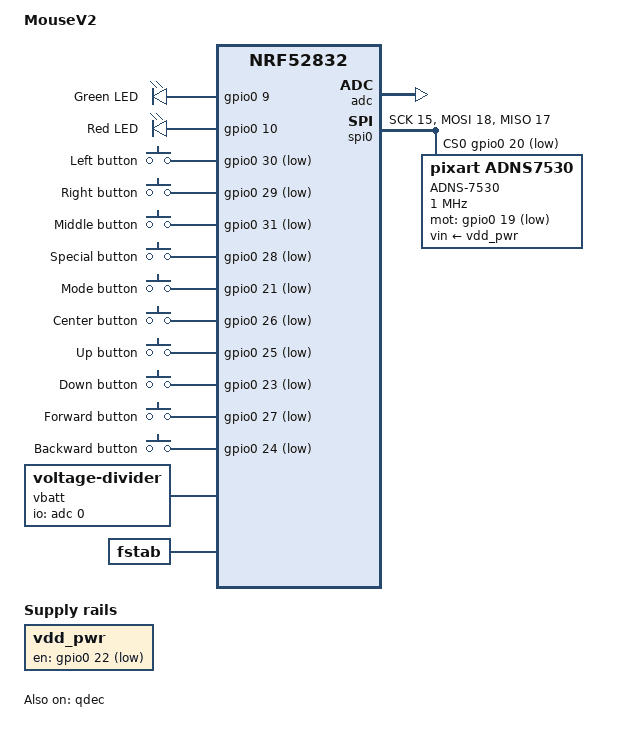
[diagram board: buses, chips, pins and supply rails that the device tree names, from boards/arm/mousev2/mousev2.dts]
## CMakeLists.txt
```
# SPDX-License-Identifier: MIT

list(APPEND ZEPHYR_EXTRA_MODULES
    ${CMAKE_CURRENT_SOURCE_DIR}/adns7530_driver
)

cmake_minimum_required(VERSION 3.20.0)

find_package(Zephyr REQUIRED HINTS $ENV{ZEPHYR_BASE})

add_subdirectory(umm_malloc)
add_subdirectory(lua)

project(mousev2-nrf)

target_link_libraries(app PRIVATE lua umm_malloc)

target_include_directories(app PRIVATE include)

target_sources(app PRIVATE
    src/main.c
    src/sys.c
    src/state.c
    src/bluetooth.c
    src/hids.c
    src/battery.c
    src/fs.c
    src/lua_worker.c
    src/lua_mv2lib.c
    src/mouseconnect.c
)
```

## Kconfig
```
source "Kconfig.zephyr"

menu "MouseV2-nRF project settings"

config PRJ_POWER_ONOFF_HOLD_TIME
  int "Turn on/off button hold time (ms)"
  default 1000
  help
    A number of milliseconds the mode button has to be held
    to power the device on or off.

config PRJ_BAT_MEASUREMENT_PERIOD
  int "Battery measurement & reporting periodicity (ms)"
  default 60000

config PRJ_FLASH_ON_BOOT
  bool "Flash green led on boot"
  default n

config PRJ_BT_DIRECTED_ADVERTISING
  bool "Enable directed advertising"
  default y

config PRJ_BT_FIXED_PASSKEY_VALUE
  int "Fixed pairing passkey"
  range 0 999999
  default 181402
  depends on BT_FIXED_PASSKEY
  help
    The device will pretend to be of DisplayOnly type,
    and "display" fixed passkey to be entered on a peer.

config PRJ_LUA_SCRIPT_NAME
  string "Lua script filename"
  default "boot.lua"
  help
    Lua script containing user-defined event handlers.

config PRJ_LUA_WORKER_HEAP_SIZE
  int "Lua worker heap size"
  default 16384

config PRJ_LUA_WORKER_THREAD_STACKSIZE
  int "Lua worker thread stack size"
  default 4096

config PRJ_LUA_WORKER_THREAD_PRIORITY
  int "Lua worker thread priority"
  default 7


endmenu
```

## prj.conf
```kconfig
CONFIG_SPI=y
CONFIG_SPI_NRFX=y
# I did not manage to get SPIM to work for receiving data, so SPI is used instead
CONFIG_NRFX_SPI0=y
# CONFIG_NRFX_SPIM0=y
# CONFIG_SOC_NRF52832_ALLOW_SPIM_DESPITE_PAN_58=y

CONFIG_SENSOR=y
CONFIG_QDEC_NRFX=y
CONFIG_ADNS7530=y
CONFIG_ADNS7530_TRIGGER=y

CONFIG_GPIO=y
CONFIG_GPIO_NRFX=y
CONFIG_GPIO_NRF_P0=y

CONFIG_ADC=y
CONFIG_REGULATOR=y

### Filesystem ###

CONFIG_FLASH=y
CONFIG_FLASH_MAP=y
CONFIG_FLASH_PAGE_LAYOUT=y
CONFIG_FILE_SYSTEM=y
CONFIG_FILE_SYSTEM_LITTLEFS=y

### Bluetooth ###

CONFIG_BT=y
CONFIG_BT_PERIPHERAL=y

# Preferred connection interval, in 1.25ms units
CONFIG_BT_PERIPHERAL_PREF_MIN_INT=6
CONFIG_BT_PERIPHERAL_PREF_MAX_INT=20

# Safety
CONFIG_BT_SMP=y
CONFIG_BT_PRIVACY=y
CONFIG_BT_TINYCRYPT_ECC=y
CONFIG_BT_SIGNING=y
CONFIG_BT_FIXED_PASSKEY=y
CONFIG_BT_SMP_ENFORCE_MITM=y
CONFIG_BT_KEYS_OVERWRITE_OLDEST=y
CONFIG_BT_HIDS_DEFAULT_PERM_RW_ENCRYPT=y

# Dynamic power (enable both before starting implementation)
CONFIG_BT_CTLR_CONN_RSSI=n
CONFIG_BT_CTLR_TX_PWR_DYNAMIC_CONTROL=n

# Services
CONFIG_BT_DIS=y
CONFIG_BT_BAS=y
CONFIG_BT_HIDS=y
CONFIG_BT_NUS=y

# Device information
# PnP is mandatory according to HID over GATT profile specification, using values from Nordic's example
CONFIG_BT_DIS_PNP=y
CONFIG_BT_DIS_PNP_VID_SRC=2
CONFIG_BT_DIS_PNP_VID=0x1915
CONFIG_BT_DIS_PNP_PID=0xEEEE
CONFIG_BT_DIS_MODEL="MouseV2"
CONFIG_BT_DIS_MANUF="Taras Radchenko"
CONFIG_BT_DEVICE_NAME="My mouse"
CONFIG_BT_DEVICE_APPEARANCE=962
# may be enabled later to allow user rename the device?
CONFIG_BT_DEVICE_NAME_DYNAMIC=n
# CONFIG_BT_DEVICE_NAME_MAX=128

# Settings (for pairing keys)
CONFIG_SETTINGS=y
CONFIG_SETTINGS_FS=y
CONFIG_SETTINGS_FS_DIR="/int"
CONFIG_SETTINGS_FS_FILE="/int/.settings"
CONFIG_BT_SETTINGS=y

# Limits
CONFIG_BT_MAX_PAIRED=2
CONFIG_BT_L2CAP_TX_BUF_COUNT=5
CONFIG_BT_GATT_UUID16_POOL_SIZE=20
CONFIG_BT_GATT_UUID128_POOL_SIZE=5
CONFIG_BT_GATT_CHRC_POOL_SIZE=20
# fs structures are big
CONFIG_MAIN_STACK_SIZE=2048
# because of storage
CONFIG_SYSTEM_WORKQUEUE_STACK_SIZE=2048

# Libraries
CONFIG_BT_CONN_CTX=y

### Lua ###

CONFIG_NEWLIB_LIBC=y

### Project-specific ###

CONFIG_PRJ_FLASH_ON_BOOT=y
CONFIG_PRJ_BT_DIRECTED_ADVERTISING=y
CONFIG_PRJ_LUA_WORKER_HEAP_SIZE=10240
CONFIG_PRJ_LUA_WORKER_THREAD_STACKSIZE=4096

### Temporary misc ###

# TODO: HACK: non-debug build does not work without this
CONFIG_DEBUG_OPTIMIZATIONS=y

CONFIG_DEBUG=y
# CONFIG_BT_LIM_ADV_TIMEOUT=5

### LOGGING ###
CONFIG_LOG=y
CONFIG_LOG_MODE_DEFERRED=y
CONFIG_LOG_STRDUP_BUF_COUNT=32
CONFIG_LOG_BUFFER_SIZE=4096

# CONFIG_MCUMGR=y
# CONFIG_MCUMGR_SMP_UART=y

CONFIG_LOG_PROCESS_THREAD_SLEEP_MS=1000
CONFIG_CONSOLE=y
# CONFIG_SERIAL=y
# CONFIG_UART_CONSOLE_LOG_LEVEL_DBG=y
# CONFIG_UART_CONSOLE=y

CONFIG_RTT_CONSOLE=y
CONFIG_USE_SEGGER_RTT=y

CONFIG_BT_DEBUG_LOG=y
# CONFIG_BT_LOG_LEVEL_DBG=y
# CONFIG_BT_CONN_CTX_LOG_LEVEL_DBG=y
# CONFIG_BT_GATT_POOL_LOG_LEVEL_DBG=y
```

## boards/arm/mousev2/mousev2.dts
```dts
// Copyright (c) 2021 Nordic Semiconductor ASA
// SPDX-License-Identifier: Apache-2.0

/dts-v1/;
#include <nordic/nrf52832_qfaa.dtsi>

/ {
	model = "MouseV2";
	compatible = "taras-radchenko,mousev2";

	chosen {
		zephyr,sram = &sram0;
		zephyr,flash = &flash0;
		zephyr,code-partition = &slot0_partition;
	};

	leds {
		compatible = "gpio-leds";
		led_green: led_green {
			gpios = <&gpio0 9 GPIO_ACTIVE_HIGH>;
			label = "Green LED";
		};
		led_red: led_red {
			gpios = <&gpio0 10 GPIO_ACTIVE_HIGH>;
			label = "Red LED";
		};
	};

	buttons {
		compatible = "gpio-keys";

		/* Main buttons */
		button_l: button_l {
			gpios = <&gpio0 30 (GPIO_PULL_UP | GPIO_ACTIVE_LOW)>;
			label = "Left button";
		};
		button_r: button_r {
			gpios = <&gpio0 29 (GPIO_PULL_UP | GPIO_ACTIVE_LOW)>;
			label = "Right button";
		};
		button_m: button_m {
			gpios = <&gpio0 31 (GPIO_PULL_UP | GPIO_ACTIVE_LOW)>;
			label = "Middle button";
		};
		button_spec: button_spec {
			gpios = <&gpio0 28 (GPIO_PULL_UP | GPIO_ACTIVE_LOW)>;
			label = "Special button";
		};
		button_mode: button_mode {
			gpios = <&gpio0 21 (GPIO_PULL_UP | GPIO_ACTIVE_LOW)>;
			label = "Mode button";
		};

		/* Thumb buttons */
		button_center: button_center {
			gpios = <&gpio0 26 (GPIO_PULL_UP | GPIO_ACTIVE_LOW)>;
			label = "Center button";
		};
		button_up: button_up {
			gpios = <&gpio0 25 (GPIO_PULL_UP | GPIO_ACTIVE_LOW)>;
			label = "Up button";
		};
		button_down: button_down {
			gpios = <&gpio0 23 (GPIO_PULL_UP | GPIO_ACTIVE_LOW)>;
			label = "Down button";
		};
		button_fwd: button_fwd {
			gpios = <&gpio0 27 (GPIO_PULL_UP | GPIO_ACTIVE_LOW)>;
			label = "Forward button";
		};
		button_bwd: button_bwd {
			gpios = <&gpio0 24 (GPIO_PULL_UP | GPIO_ACTIVE_LOW)>;
			label = "Backward button";
		};
	};

	vbatt {
		compatible = "voltage-divider";
		io-channels = <&adc 0>;
		output-ohms = <2000000>;
		full-ohms = <3000000>;
	};

	vdd_pwr: vdd-switch {
		compatible = "regulator-fixed-sync", "regulator-fixed";
		label = "VDD switch";
		regulator-name = "vdd-switch";
		enable-gpios = <&gpio0 22 GPIO_ACTIVE_LOW>;
		startup-delay-us = <100>;
		regulator-boot-on;
	};

	fstab {
		compatible = "zephyr,fstab";
		littlefs: littlefs {
			compatible = "zephyr,fstab,littlefs";
			mount-point = "/int";  // "internal", cuz "lfs" is git-lfs for me
			partition = <&storage_partition>;
			automount;
			read-size = <16>;
			prog-size = <16>;
			cache-size = <64>;
			lookahead-size = <32>;
			block-cycles = <512>;
		};
	};
};

&gpiote {
	status = "okay";
};

&gpio0 {
	status = "okay";
};

&adc {
	status = "okay";
};

&qdec {
	status = "okay";
	a-pin = <14>;
	b-pin = <12>;
	// value from sensor is returned in degrees, so make one step equal to one degree to get actual steps
	steps = <360>;
	led-pre = <0>;
};

&spi0 {
	status = "okay";
	compatible = "nordic,nrf-spi";
	sck-pin = <15>;
	miso-pin = <17>;
	mosi-pin = <18>;
	cs-gpios = <&gpio0 20 GPIO_ACTIVE_LOW>, <&gpio0 11 GPIO_ACTIVE_LOW>;  // ADNS (20), AVR(11)

	adns7530@0 {
		compatible = "pixart,adns7530";
		reg = <0>;
		mot-gpios = <&gpio0 19 GPIO_ACTIVE_LOW>;
		spi-max-frequency = <1000000>;
		label = "ADNS-7530";
		vin-supply = <&vdd_pwr>;
	};
};

&flash0 {
	partitions {
		compatible = "fixed-partitions";
		#address-cells = <1>;
		#size-cells = <1>;

		boot_partition: partition@0 {
			label = "mcuboot";
			reg = <0x0 0xc000>;
		};
		slot0_partition: partition@c000 {
			label = "image-0";
			reg = <0xc000 0x32000>;
		};
		slot1_partition: partition@3e000 {
			label = "image-1";
			reg = <0x3e000 0x32000>;
		};
		scratch_partition: partition@70000 {
			label = "image-scratch";
			reg = <0x70000 0xa000>;
		};
		storage_partition: partition@7a000 {
			label = "storage";
			reg = <0x7a000 0x6000>;
		};
	};
};
```

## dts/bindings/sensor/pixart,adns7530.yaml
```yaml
# Copyright (c) 2021 Taras Radchenko
# SPDX-License-Identifier: MIT

description: ADNS-7530 optical motion sensor

compatible: "pixart,adns7530"

include: "spi-device.yaml"

properties:
  mot-gpios:
    type: phandle-array
    required: true
    description: MOT pin.
```

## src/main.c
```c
/*
 * Copyright (c) 2021 Taras Radchenko
 *
 * SPDX-License-Identifier: MIT
 */

#include "sys.h"
#include "bluetooth.h"
#include "battery.h"
#include "hids.h"
#include "fs.h"
#include "lua_worker.h"

#include <logging/log.h>

LOG_MODULE_REGISTER(mv2main, LOG_LEVEL_DBG);

static inline int client_update_cycle() {
	// custom accumulator to divide by 2 (a single click makes two transitions) and not loose remainders
	static int rot_acc = 0, prev_left = 0, prev_right = 0, prev_middle = 0;
	int left, right, middle;
	struct sensor_value dx, dy, rot;
	const struct device *gpio = DEVICE_DT_GET_ONE(nordic_nrf_gpio);
	const struct device *qdec = DEVICE_DT_GET_ONE(nordic_nrf_qdec);
	const struct device *adns7530 = DEVICE_DT_GET_ONE(pixart_adns7530);

	/* Read */
	sensor_sample_fetch(adns7530);
	sensor_channel_get(adns7530, SENSOR_CHAN_POS_DX, &dx);
	sensor_channel_get(adns7530, SENSOR_CHAN_POS_DY, &dy);

	sensor_sample_fetch(qdec);
	sensor_channel_get(qdec, SENSOR_CHAN_ROTATION, &rot);
	rot_acc += rot.val1;

	left = gpio_pin_get(gpio, BUTTON_L_PIN);
	right = gpio_pin_get(gpio, BUTTON_R_PIN);
	middle = gpio_pin_get(gpio, BUTTON_M_PIN);
	if (left < 0 || right < 0 || middle < 0) {
		return MIN(MIN(left, right), middle);
	}

	/* Write */
	if (left != prev_left) {
		mv2_hids_set_button(BUTTON_ID_LEFT, left);
		prev_left = left;
	}
	if (right != prev_right) {
		mv2_hids_set_button(BUTTON_ID_RIGHT, right);
		prev_right = right;
	}
	if (middle != prev_middle) {
		mv2_hids_set_button(BUTTON_ID_MIDDLE, middle);
		prev_middle = middle;
	}
	mv2_hids_add_wheel(rot_acc / 2);
	mv2_hids_add_delta_x(dx.val1);
	mv2_hids_add_delta_y(-dy.val1);

	rot_acc = rot_acc % 2;
	return 0;
}

static inline int send_events_to_lua() {
	const struct device *gpio = DEVICE_DT_GET_ONE(nordic_nrf_gpio);

	for (uint8_t i = 0; i < MV2_LW_NUM_PROG_BUTTONS; i++) {
		int rv = gpio_pin_get(gpio, prog_btn_pins[i]);
		if (rv < 0) {
			return rv;
		}
		else if (rv != (prog_btn_counters[i] & 1)) {
			prog_btn_counters[i]++;
		}
	}

	return 0;
}

void main(void) {
	LOG_INF("entering main");

	int rv, prev_btnmode_status = 1;
	struct mv2_sys_boot_opt boot_opt;
	struct k_timer bat_measurement_timer;
	const struct device *gpio = DEVICE_DT_GET_ONE(nordic_nrf_gpio);

	if (mv2_sys_init(&boot_opt)) return;
	if (mv2_bat_init()) return;
	if (mv2_fs_init()) return;

	if (mv2_bt_init(
#ifdef CONFIG_PRJ_BT_DIRECTED_ADVERTISING
		boot_opt.public_adv
#endif // CONFIG_PRJ_BT_DIRECTED_ADVERTISING
	)) return;

	if (mv2_hids_init()) return;

	k_timer_init(&bat_measurement_timer, NULL, NULL);
	k_timer_start(&bat_measurement_timer, K_NO_WAIT, K_MSEC(CONFIG_PRJ_BAT_MEASUREMENT_PERIOD));

	while (mv2_sys_should_run()) {
		rv = gpio_pin_get(gpio, BUTTON_MODE_PIN);
		if (rv < 0) {
			return;
		}
		else if (rv != prev_btnmode_status) {
			prev_btnmode_status = rv;

			if (rv == 1) {
				mv2_sys_start_poweroff_countdown();
			} else {
				mv2_sys_cancel_poweroff_countdown();
			}
		}

		if (current_client || IS_ENABLED(CONFIG_DEBUG)) {
			if (client_update_cycle() || send_events_to_lua()) {
				return;
			}

			mv2_hids_send();
		}

		if (k_timer_status_get(&bat_measurement_timer)) {
			millivolts_t mv;
			rv = mv2_bat_sample_mv(&mv);
			if (rv) {
				return;
			}

			bt_bas_set_battery_level((mv2_bat_convert_mv2pts(mv) + 50) / 100);
		}

		k_msleep(5);
	}
}

// static volatile char print_buf[512] = "";
// static volatile int buf_counter = 0;

// int arch_printk_char_out(int c) {
// 	if (c == '\n' || buf_counter == sizeof(print_buf)) {
// 		print_buf[buf_counter] = '\0';
// 		// breakpoint here
// 		buf_counter = 0;
// 		print_buf[0] = '\0';
// 	} else {
// 		print_buf[buf_counter++] = c;
// 	}
// 	return 0;
// }
```

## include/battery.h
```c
#ifndef MOUSEV2_BATTERY_H
#define MOUSEV2_BATTERY_H

#include <zephyr.h>
#include <drivers/adc.h>

#define VBATT            DT_PATH(vbatt)

// 0.6V / (1/5) = 3V range
#define BATTERY_ADC_REF  ADC_REF_INTERNAL  // 0.6 V
#define BATTERY_ADC_GAIN ADC_GAIN_1_5      // 1/5

#define BATTERY_DIV_OUT  DT_PROP(VBATT, output_ohms)
#define BATTERY_DIV_FULL DT_PROP(VBATT, full_ohms)

typedef int16_t millivolts_t;
typedef int16_t points_t;

struct battery_level_point {
	/** Remaining life in 0.01% units */
	points_t points;
	/** Battery voltage in mV */
	millivolts_t voltage;
};

int mv2_bat_init();
int mv2_bat_sample_mv(millivolts_t *mv);
points_t mv2_bat_convert_mv2pts(millivolts_t mv);

#endif // MOUSEV2_BATTERY_H
```

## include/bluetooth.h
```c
#ifndef MOUSEV2_BLUETOOTH_H
#define MOUSEV2_BLUETOOTH_H

/* According to HID over GATT profile specification:
 *   The HID Device shall have one or more instances of the HID Service,
 *   one or more instances of the Battery Service,
 *   one instance of the Device Information Service [...]
 */

#include <zephyr.h>

#include <settings/settings.h>

#include <bluetooth/bluetooth.h>
#include <bluetooth/hci.h>
#include <bluetooth/conn.h>
#include <bluetooth/uuid.h>
#include <bluetooth/gatt.h>
#include <bluetooth/services/bas.h>
#include <bluetooth/services/hrs.h>
#include <bluetooth/services/nus.h>

#include "state.h"
#include "hids.h"
#include "mouseconnect.h"

#if CONFIG_PRJ_BT_DIRECTED_ADVERTISING
#define PUBLIC_ADV_PARAM  bool public_adv
#define PUBLIC_ADV_ARG    public_adv
#define PUBLIC_ADV_TRUE   true
#define PUBLIC_ADV_FALSE  false
#else
#define PUBLIC_ADV_PARAM
#define PUBLIC_ADV_ARG
#define PUBLIC_ADV_TRUE
#define PUBLIC_ADV_FALSE
#endif

int mv2_bt_init(PUBLIC_ADV_PARAM);

#endif // MOUSEV2_BLUETOOTH_H
```

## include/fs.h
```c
#ifndef MOUSEV2_FILESYSTEM_H
#define MOUSEV2_FILESYSTEM_H

#include <zephyr.h>
#include <device.h>
#include <fs/fs.h>
#include <fs/littlefs.h>
#include <storage/flash_map.h>

#define PARTITION_NODE    DT_NODELABEL(littlefs)
#define MV2FS_MOUNTPOINT  DT_PROP(PARTITION_NODE, mount_point)

FS_FSTAB_DECLARE_ENTRY(PARTITION_NODE);

int mv2_fs_init();
int mv2_fs_deinit();

#endif // MOUSEV2_FILESYSTEM_H
```

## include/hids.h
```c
#ifndef MOUSEV2_HIDS_H
#define MOUSEV2_HIDS_H

#include <zephyr.h>
#include <sys/byteorder.h>

#include <bluetooth/conn.h>
#include <bluetooth/services/hids.h>

#include "state.h"

#define BASE_USB_HID_SPEC_VERSION   0x0101

// Number of input reports in this application
#define INPUT_REPORT_COUNT          3
// Length of Mouse Input Report containing button/movement/media player data
#define INPUT_REP_BUTTONS_LEN       2
#define INPUT_REP_MOVEMENT_LEN      3
#define INPUT_REP_MPLAYER_LEN       1
// Index of Mouse Input Report containing button/movement/media player data
#define INPUT_REP_BUTTONS_IDX       0
#define INPUT_REP_MOVEMENT_IDX      1
#define INPUT_REP_MPLAYER_IDX       2
// Id of reference to Mouse Input Report containing button/movement/media player data
#define INPUT_REP_REF_BUTTONS_ID    1
#define INPUT_REP_REF_MOVEMENT_ID   2
#define INPUT_REP_REF_MPLAYER_ID    3

#define BUTTON_ID_LEFT              0
#define BUTTON_ID_RIGHT             1
#define BUTTON_ID_MIDDLE            2

int mv2_hids_init();
int mv2_hids_send();
void mv2_hids_add_wheel(int8_t value);
void mv2_hids_add_delta_x(int16_t delta_x);
void mv2_hids_add_delta_y(int16_t delta_y);
void mv2_hids_set_button(uint8_t button_id, bool state);

int mv2_hids_connected(struct bt_conn *conn);
int mv2_hids_disconnected(struct bt_conn *conn);

#endif // MOUSEV2_HIDS_H
```

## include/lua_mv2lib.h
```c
#ifndef MOUSEV2_LUA_MV2LIB_H
#define MOUSEV2_LUA_MV2LIB_H

#include "lua.h"

#define MV2LIB_LIBNAME  "mv2lib"

int mv2lib_open(lua_State *L);

#endif // MOUSEV2_LUA_MV2LIB_H
```

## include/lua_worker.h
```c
#ifndef MOUSEV2_LUA_WORKER_H
#define MOUSEV2_LUA_WORKER_H

#include <zephyr.h>

#include <umm_malloc.h>

#define MV2_LW_NUM_PROG_BUTTONS 6

/**
 * @brief Pin numbers of the programmable buttons.
 *
 * Correspond by index to @c prog_btn_counters.
 */
extern uint8_t prog_btn_pins[MV2_LW_NUM_PROG_BUTTONS];

/**
 * @brief In order to report button state change events, counters are used.
 *
 * The user is responsible to increment a counter when state changes and never decrement it.
 * The last bit of the counter should represent current button state.
 * Internally, counters are compared to a value stored in lua_State extra space.
 * Correspond by index to @c prog_btn_pins.
 */
extern uint32_t prog_btn_counters[MV2_LW_NUM_PROG_BUTTONS];

#endif // MOUSEV2_LUA_WORKER_H
```

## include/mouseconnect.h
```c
#ifndef MOUSEV2_MOUSECONNECT_H
#define MOUSEV2_MOUSECONNECT_H

int mv2_mc_init();

#endif // MOUSEV2_MOUSECONNECT_H
```

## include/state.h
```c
#ifndef MV2_STATE_H
#define MV2_STATE_H

#include <bluetooth/conn.h>

/**
 * @brief Currently connected Bluetooth client or NULL if there is no connected device
 */
extern struct bt_conn *current_client;

#endif // MV2_STATE_H
```

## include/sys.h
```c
#ifndef MOUSEV2_SYSTEM_H
#define MOUSEV2_SYSTEM_H

#include <zephyr.h>
#include <device.h>
#include <devicetree.h>
#include <drivers/sensor.h>
#include <drivers/gpio.h>
#include <hal/nrf_gpio.h>
#include <pm/pm.h>

// needed to dirtily unmount the filesystem before poweroff
#include "fs.h"

#if DT_NUM_INST_STATUS_OKAY(nordic_nrf_gpio) != 1
#error "the code expects there is only one GPIO controller"
#endif

#define LED_RED_PIN          DT_GPIO_PIN(DT_NODELABEL(led_red), gpios)
#define LED_RED_FLAGS        DT_GPIO_FLAGS(DT_NODELABEL(led_red), gpios)
#define LED_GREEN_PIN        DT_GPIO_PIN(DT_NODELABEL(led_green), gpios)
#define LED_GREEN_FLAGS      DT_GPIO_FLAGS(DT_NODELABEL(led_green), gpios)

#define BUTTON_L_PIN         DT_GPIO_PIN(DT_NODELABEL(button_l), gpios)
#define BUTTON_L_FLAGS       DT_GPIO_FLAGS(DT_NODELABEL(button_l), gpios)
#define BUTTON_R_PIN         DT_GPIO_PIN(DT_NODELABEL(button_r), gpios)
#define BUTTON_R_FLAGS       DT_GPIO_FLAGS(DT_NODELABEL(button_r), gpios)
#define BUTTON_M_PIN         DT_GPIO_PIN(DT_NODELABEL(button_m), gpios)
#define BUTTON_M_FLAGS       DT_GPIO_FLAGS(DT_NODELABEL(button_m), gpios)
#define BUTTON_MODE_PIN      DT_GPIO_PIN(DT_NODELABEL(button_mode), gpios)
#define BUTTON_MODE_FLAGS    DT_GPIO_FLAGS(DT_NODELABEL(button_mode), gpios)

#define BUTTON_SPEC_PIN      DT_GPIO_PIN(DT_NODELABEL(button_spec), gpios)
#define BUTTON_SPEC_FLAGS    DT_GPIO_FLAGS(DT_NODELABEL(button_spec), gpios)
#define BUTTON_CENTER_PIN    DT_GPIO_PIN(DT_NODELABEL(button_center), gpios)
#define BUTTON_CENTER_FLAGS  DT_GPIO_FLAGS(DT_NODELABEL(button_center), gpios)
#define BUTTON_UP_PIN        DT_GPIO_PIN(DT_NODELABEL(button_up), gpios)
#define BUTTON_UP_FLAGS      DT_GPIO_FLAGS(DT_NODELABEL(button_up), gpios)
#define BUTTON_DOWN_PIN      DT_GPIO_PIN(DT_NODELABEL(button_down), gpios)
#define BUTTON_DOWN_FLAGS    DT_GPIO_FLAGS(DT_NODELABEL(button_down), gpios)
#define BUTTON_FWD_PIN       DT_GPIO_PIN(DT_NODELABEL(button_fwd), gpios)
#define BUTTON_FWD_FLAGS     DT_GPIO_FLAGS(DT_NODELABEL(button_fwd), gpios)
#define BUTTON_BWD_PIN       DT_GPIO_PIN(DT_NODELABEL(button_bwd), gpios)
#define BUTTON_BWD_FLAGS     DT_GPIO_FLAGS(DT_NODELABEL(button_bwd), gpios)

// Note: sample period for the QDEC was changed to NRF_QDEC_SAMPLEPER_256us (see qdec_nrfx_init)
#define QDEC_A_PIN           DT_PROP(DT_NODELABEL(qdec), a_pin)
#define QDEC_B_PIN           DT_PROP(DT_NODELABEL(qdec), b_pin)
#define QDEC_A_FLAGS         GPIO_PULL_UP  // idk how to add
#define QDEC_B_FLAGS         GPIO_PULL_UP  // these flags to devicetree

#ifdef CONFIG_PRJ_BT_DIRECTED_ADVERTISING
#define PUBLIC_ADV_REQ_PIN   BUTTON_SPEC_PIN
#endif

struct mv2_sys_boot_opt {
#ifdef CONFIG_PRJ_BT_DIRECTED_ADVERTISING
    bool public_adv;
#endif
};

int mv2_sys_init(struct mv2_sys_boot_opt *boot_opt);
bool mv2_sys_should_run();
void mv2_sys_start_poweroff_countdown();
void mv2_sys_cancel_poweroff_countdown();

#endif // MOUSEV2_SYSTEM_H
```

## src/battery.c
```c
#include "battery.h"

// https://github.com/nrfconnect/sdk-zephyr/blob/main/samples/boards/nrf/battery/src/main.c
static const struct battery_level_point bat_capacity_curve[] = {
    /* "Curve" here eyeballed from captured data for the [Adafruit
	 * 3.7v 2000 mAh](https://www.adafruit.com/product/2011) LIPO
	 * under full load that started with a charge of 3.96 V and
	 * dropped about linearly to 3.58 V over 15 hours.  It then
	 * dropped rapidly to 3.10 V over one hour, at which point it
	 * stopped transmitting.
	 *
	 * Based on eyeball comparisons we'll say that 15/16 of life
	 * goes between 3.95 and 3.55 V, and 1/16 goes between 3.55 V
	 * and 3.1 V.
	 */

	{ 10000, 3950 },
	{ 625, 3550 },
	{ 0, 3100 },
};

static int32_t adc_buf;
static struct adc_sequence adc_seq = {
	.buffer = &adc_buf,
	.buffer_size = sizeof(adc_buf),
	.calibrate = true,
	.channels = BIT(0),
	.oversampling = 4,
	.resolution = 14,
};

static const struct adc_channel_cfg adc_cfg = {
	.input_positive = SAADC_CH_PSELP_PSELP_AnalogInput0 + DT_IO_CHANNELS_INPUT(VBATT),
	.gain = BATTERY_ADC_GAIN,
	.reference = BATTERY_ADC_REF,
	.acquisition_time = ADC_ACQ_TIME(ADC_ACQ_TIME_MICROSECONDS, 40),
};

int mv2_bat_init() {
	const struct device *adc = DEVICE_DT_GET(DT_IO_CHANNELS_CTLR(VBATT));
	return adc_channel_setup(adc, &adc_cfg);
}

int mv2_bat_sample_mv(millivolts_t *mv) {
	int rv;
	const struct device *adc = DEVICE_DT_GET(DT_IO_CHANNELS_CTLR(VBATT));

	rv = adc_read(adc, &adc_seq);
	if (rv < 0) {
		return rv;
	}
	adc_seq.calibrate = false;

	// reverse adc gain
	rv = adc_raw_to_millivolts(adc_ref_internal(adc), adc_cfg.gain, adc_seq.resolution, adc_seq.buffer);
	if (rv) {
		return rv;
	}

	// reverse resistor divider gain
	*mv = (int64_t) adc_buf * BATTERY_DIV_FULL / BATTERY_DIV_OUT;
	return 0;
}

points_t mv2_bat_convert_mv2pts(millivolts_t mv) {
	const struct battery_level_point *pa, *pb = bat_capacity_curve;

	if (mv >= pb->voltage) {
		// voltage above highest point
		return pb->points;
	}

	// find lower bound for linear interpolation
	while (mv < pb->voltage) {
		if (pb->points > 0) {
			pb++;
		} else {
			// voltage below lowest point
			return pb->points;
		}
	}

	// upper bound is a previous point
	pa = pb - 1;

	// linear interpolation
	return pb->points + ((pa->points - pb->points) * (mv - pb->voltage) / (pa->voltage - pb->voltage));
}
```

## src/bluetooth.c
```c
#include "bluetooth.h"

#include <host/hci_core.h>
#include <logging/log.h>

LOG_MODULE_REGISTER(mv2bt, LOG_LEVEL_DBG);

static struct k_work adv_work;
static const struct bt_data adv_data[] = {
	BT_DATA_BYTES(BT_DATA_GAP_APPEARANCE,
		(CONFIG_BT_DEVICE_APPEARANCE >> 0) & 0xff,
		(CONFIG_BT_DEVICE_APPEARANCE >> 8) & 0xff),
	BT_DATA_BYTES(BT_DATA_FLAGS, (BT_LE_AD_GENERAL | BT_LE_AD_NO_BREDR)),
	BT_DATA(BT_DATA_NAME_COMPLETE, CONFIG_BT_DEVICE_NAME, sizeof(CONFIG_BT_DEVICE_NAME) - 1),  // dont include '\0'
	BT_DATA_BYTES(BT_DATA_UUID16_ALL,
		BT_UUID_16_ENCODE(BT_UUID_HIDS_VAL),
		BT_UUID_16_ENCODE(BT_UUID_BAS_VAL)),
};

static const struct bt_data scan_data[] = {
	BT_DATA_BYTES(BT_DATA_UUID128_ALL, BT_UUID_NUS_VAL),
};

#if CONFIG_PRJ_BT_DIRECTED_ADVERTISING
/**
 * @brief Direct advertising addresses queue (DAAQ).
 *
 * @see mv2_bt_advertising_process
 */
K_MSGQ_DEFINE(bonds_queue, sizeof(bt_addr_le_t), CONFIG_BT_MAX_PAIRED, 4);
#endif

/**
 * @brief Starts advertising process.
 *
 * If directed advertising is enabled and DAAQ is not empty, the address is poped
 * from the queue and directed advertising starts. Otherwise, undirected advertising starts.
 *
 * @param work Unused
 */
static void mv2_bt_advertising_process(struct k_work *work) {
	ARG_UNUSED(work);

	struct bt_le_adv_param adv_param;

#if CONFIG_PRJ_BT_DIRECTED_ADVERTISING
	bt_addr_le_t addr;

	if (k_msgq_get(&bonds_queue, &addr, K_NO_WAIT)) {
		// the queue is empty
		// no fallback to public advertising unless explicitly required
		return;
	}

	if (bt_addr_le_cmp(&addr, BT_ADDR_LE_ANY)) {
		// not a BT_ADDR_LE_ANY, start directed advertising
		char buf[20];
		bt_addr_le_to_str(&addr, buf, 20);
		LOG_INF("direct adv to %s", buf);
		adv_param = *BT_LE_ADV_CONN_DIR(&addr);
		bt_le_adv_start(&adv_param, NULL, 0, NULL, 0);
	}
	else
#endif
	{
		LOG_INF("undirect adv");
		adv_param = *BT_LE_ADV_CONN;
		adv_param.options |= BT_LE_ADV_OPT_ONE_TIME;
		bt_le_adv_start(&adv_param, adv_data, ARRAY_SIZE(adv_data), scan_data, ARRAY_SIZE(scan_data));
	}
}

#if CONFIG_PRJ_BT_DIRECTED_ADVERTISING
/**
 * @brief Puts bond (bound device) information to the DAAQ.
 *
 * @param info Bond info
 * @param user_data User-supplied data (unused)
 */
static void mv2_bt_put_bond_to_queue(const struct bt_bond_info *info, void *user_data) {
	ARG_UNUSED(user_data);

	// Do not put address of the already connected client
	// Only makes sense when multiple devices can be connected simultaneously,
	// because otherwise advertising will not be started when client is connected.
	// if (current_client) {
	// 	if (!bt_addr_le_cmp(&info->addr, bt_conn_get_dst(current_client))) {
	// 		return;
	// 	}
	// }

	k_msgq_put(&bonds_queue, &info->addr, K_NO_WAIT);
}
#endif

/**
 * @brief Start advertising.
 *
 * If direct advertising is enabled, this function firstly initializes DAAQ with known bonds.
 */
static void mv2_bt_advertising_start(PUBLIC_ADV_PARAM) {
#if CONFIG_PRJ_BT_DIRECTED_ADVERTISING
	k_msgq_purge(&bonds_queue);
	if (PUBLIC_ADV_ARG) {
		// request undirected advertising, i.e. visible to public
		k_msgq_put(&bonds_queue, BT_ADDR_LE_ANY, K_NO_WAIT);
		LOG_INF("putting BT_ADDR_LE_ANY to queue");
	} else {
		LOG_INF("bt_foreach_bond to queue");
		bt_foreach_bond(BT_ID_DEFAULT, mv2_bt_put_bond_to_queue, NULL);
	}
#endif

	k_work_submit(&adv_work);
}

/**
 * @brief Connection (error) handler.
 *
 * On connection error, restarts advertising.
 * If connection succeeded, saves the client and notifies HID service.
 *
 * @param conn New connection object
 * @param err HCI error. Zero for success, non-zero otherwise
 */
static void mv2_bt_connected_callback(struct bt_conn *conn, uint8_t err) {
	if (err) {
		if (err == BT_HCI_ERR_ADV_TIMEOUT) {
			// advertise to the next device from DAAQ or start undirected advertising
			k_work_submit(&adv_work);
		}
		return;
	}

	if (!(current_client = bt_conn_ref(conn))) {
		return;
	}

	mv2_hids_connected(conn);
}

/**
 * @brief Disconnection handler.
 *
 * Notifies HID service and restarts advertising.
 *
 * @param conn Connection object.
 * @param reason HCI reason for the disconnection.
 */
static void mv2_bt_disconnected_callback(struct bt_conn *conn, uint8_t reason) {
	ARG_UNUSED(reason);

	mv2_hids_disconnected(conn);

	bt_conn_unref(current_client);
	current_client = NULL;

	// public advertising can only be started by user
	mv2_bt_advertising_start(PUBLIC_ADV_FALSE);
}

/**
 * @brief Connection callbacks
 */
static struct bt_conn_cb conn_callbacks = {
	.connected = mv2_bt_connected_callback,
	.disconnected = mv2_bt_disconnected_callback,
};

// static void mv2_bt_pairing_confirm(struct bt_conn *conn) {
// 	bt_conn_auth_pairing_confirm(conn);
// }

// static struct bt_conn_auth_cb conn_auth_callbacks = {
// 	.pairing_confirm = mv2_bt_pairing_confirm,
// };

/**
 * @brief Initialize Bluetooth subsystem and start advertising.
 *
 * @return 0 on success, negative error code otherwise.
 */
int mv2_bt_init(PUBLIC_ADV_PARAM) {
	LOG_INF("mv2_bt_init");

	int rv;
	bt_conn_cb_register(&conn_callbacks);

#ifdef CONFIG_BT_FIXED_PASSKEY
	// conn_auth_cb is not required in this case,
	// providing fixed passkey implies DisplayOnly capability
	bt_passkey_set(CONFIG_PRJ_BT_FIXED_PASSKEY_VALUE);
#endif
	// ... or is it needed to confirm pairing?
	// bt_conn_auth_cb_register(&conn_auth_callbacks);

	rv = bt_enable(NULL);
	if (rv) {
		return rv;
	}

	rv = settings_load();
	if (rv) {
		return rv;
	}

	bt_finalize_init();

	rv = mv2_mc_init();
	if (rv) {
		return rv;
	}

	// k_work_init(&hids_work, mouse_handler);
	// k_work_init(&pairing_work, pairing_process);
	k_work_init(&adv_work, mv2_bt_advertising_process);

	mv2_bt_advertising_start(PUBLIC_ADV_ARG);

	return 0;
}
```

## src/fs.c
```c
#include "fs.h"

static struct fs_mount_t *mount_info = &FS_FSTAB_ENTRY(PARTITION_NODE);
static const char test_file_content[] = "-- this is a Lua script!\nhello_world()\n";

int mv2_fs_init() {
	// nothing really to do, but we're creating an example file if it does not exist
	int rv;
	struct fs_dirent dirent;
	static const char *fname = MV2FS_MOUNTPOINT "/" CONFIG_PRJ_LUA_SCRIPT_NAME;

	rv = fs_stat(fname, &dirent);
	if (rv == -ENOENT) {
		struct fs_file_t file;
		fs_file_t_init(&file);

		rv = fs_open(&file, fname, FS_O_CREATE | FS_O_WRITE);
		if (rv < 0) {
			return rv;
		}

		rv = fs_write(&file, test_file_content, sizeof(test_file_content) - 1);
		if (rv < 0) {
			return rv;
		}

		return fs_close(&file);
	}

	return rv;
}

int mv2_fs_deinit() {
	return fs_unmount(mount_info);
}
```
